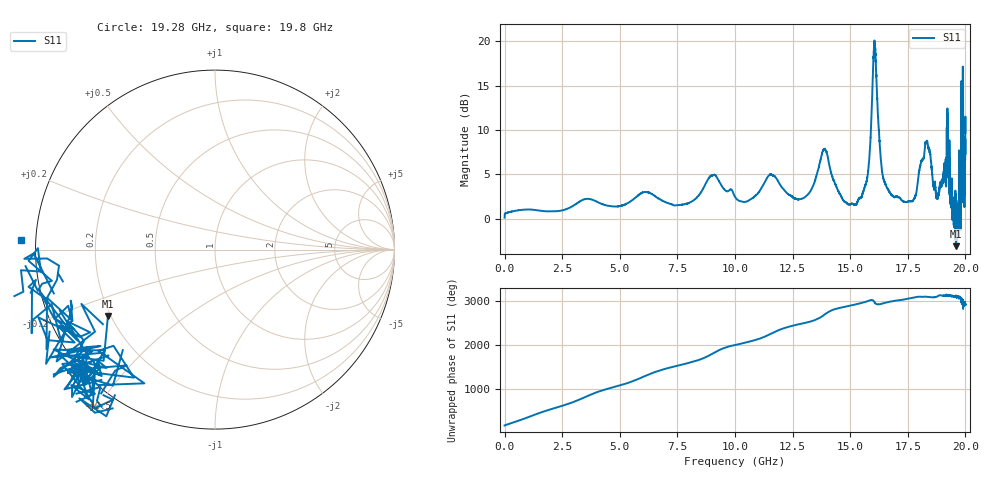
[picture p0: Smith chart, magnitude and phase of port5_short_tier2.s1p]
! Created with skrf 1.8.0 (http://scikit-rf.org).
# GHz S RI R 50.0
!freq ReS11 ImS11
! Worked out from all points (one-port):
!   10001 points, 1 MHz to 20 GHz, reference 50 ohm
!   lowest |S11| = -3.1 dB at 19.6 GHz (marker M1), VSWR 5.71, Z = 9.45 - j13.8 ohm
!   |S11| at or under -10 dB: nowhere
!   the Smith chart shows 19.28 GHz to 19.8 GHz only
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0.001  -1.015 0.0303
0.9669517  1.123 -0.1112
2.500875  -0.1276 -1.109
3.430829  0.0954 1.281
4.260787  -0.2901 -1.172
5.00075  1.173 0.1192
5.918704  -1.389 0.0653
6.726664  1.241 -0.3618
7.500625  -0.0321 1.193
8.308585  -1.203 -0.5069
9.016549  1.745 0.1297
9.326534  0.0104 1.611
10.0005  -1.257 -0.4344
11.14444  1.488 -0.0485
11.54242  -0.1365 1.777
12.50038  0.1819 -1.318
13.39433  1.3 0.8241
13.9123  -2.467 -0.0391
14.17229  -0.2859 -1.792
15.00025  1.164 0.3159
15.84421  -1.538 1.734
15.9562  -3.824 3.343
16.0642  1.283 9.649
16.16419  3.651 3.456
16.31618  1.5 1.693
17.50013  -1.219 0.2772
19.59602  -0.5964 -0.37
20  2.646 1.515
